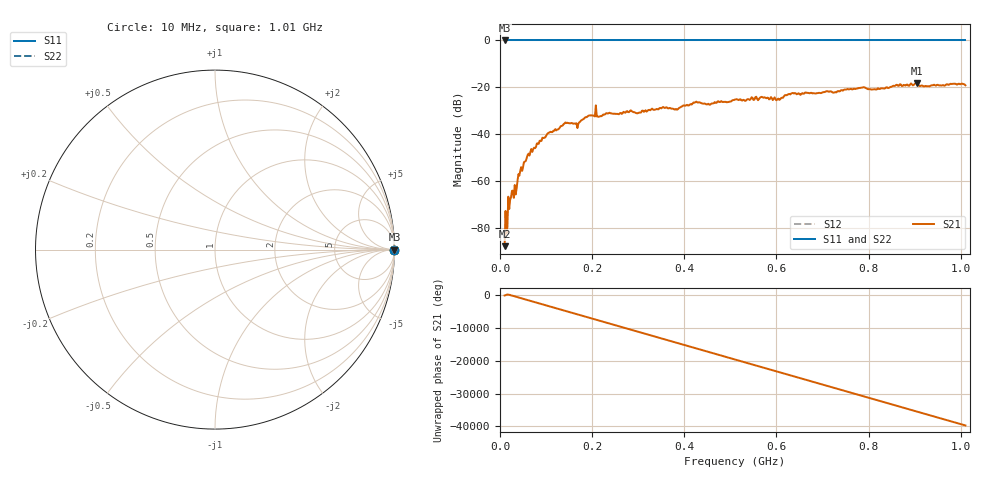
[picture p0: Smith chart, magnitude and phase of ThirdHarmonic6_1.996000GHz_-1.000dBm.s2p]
! 8/16/2025 11:59:18 PM
! C:\ANRITSUVNA\TEMP\TEMP.S2P
! CHANNEL.1
! TR.MEASUREMENT
! RAW.DATA
! RF.CORRECTION.OFF
! AVERAGING.OFF
! IF.BANDWIDTH: 5KHZ
! SWEEPTYPE:  FREQ.SWEEP(Linear)
! Reference Plane Port Info
! PORT:  PORT1  PORT2
! DISTANCE:  0  m  0  m
! TIME:  0  s  0  s
! PHASE.OFFSET:  0  deg.  0  deg.
! LOSS:  0  dB  0  dB
! REF.LOSS:  0  dB  0  dB
! REF.FREQ:  0  Hz  0  Hz
! Power Info
! POWER:  -20  dBm  -20  dBm
! EFF.POWER:  -20  dBm  -20  dBm
! SOURCE.ATTEN:  0  dB  0  dB
! TEST.ATTEN:  0  dB  0  dB
# GHZ S RI R 50.0
! FREQ.GHZ  S11RE  S11IM  S21RE  S21IM  S12RE  S12IM  S22RE  S22IM
!; PortSelection: Port_12
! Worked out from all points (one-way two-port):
!   501 points, 10 MHz to 1.01 GHz, reference 50 ohm
!   highest |S21| = -18.21 dB at 904 MHz (marker M1); lowest = -87.7 dB at 10 MHz (marker M2)
!   lowest |S11| = 0.0 dB at 10 MHz (marker M3)
!   |S11| at or under -10 dB: nowhere
!   |S22| runs from 0.0 to 0.0 dB; largest |S21 - S12| = 1.1
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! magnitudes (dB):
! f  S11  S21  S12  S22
! 10 MHz  0.0  -87.7  0.0  0.0
! 12 MHz  0.0  -72.7  0.0  0.0
! 18 MHz  0.0  -66.6  0.0  0.0
! 22 MHz  0.0  -67.9  0.0  0.0
! 34 MHz  0.0  -65.6  0.0  0.0
! 42 MHz  0.0  -57.6  0.0  0.0
! 64 MHz  0.0  -49.0  0.0  0.0
! 106 MHz  0.0  -39.3  0.0  0.0
! 142 MHz  0.0  -34.9  0.0  0.0
! 166 MHz  0.0  -35.3  0.0  0.0
! 178 MHz  0.0  -33.9  0.0  0.0
! 204 MHz  0.0  -32.1  0.0  0.0
! 216 MHz  0.0  -32.4  0.0  0.0
! 344 MHz  0.0  -29.4  0.0  0.0
! 382 MHz  0.0  -29.2  0.0  0.0
! 510 MHz  0.0  -25.2  0.0  0.0
! 604 MHz  0.0  -24.8  0.0  0.0
! 636 MHz  0.0  -22.4  0.0  0.0
! 678 MHz  0.0  -22.6  0.0  0.0
! 844 MHz  0.0  -20.2  0.0  0.0
! 904 MHz  0.0  -18.2  0.0  0.0
! 1.01 GHz  0.0  -19.1  0.0  0.0
